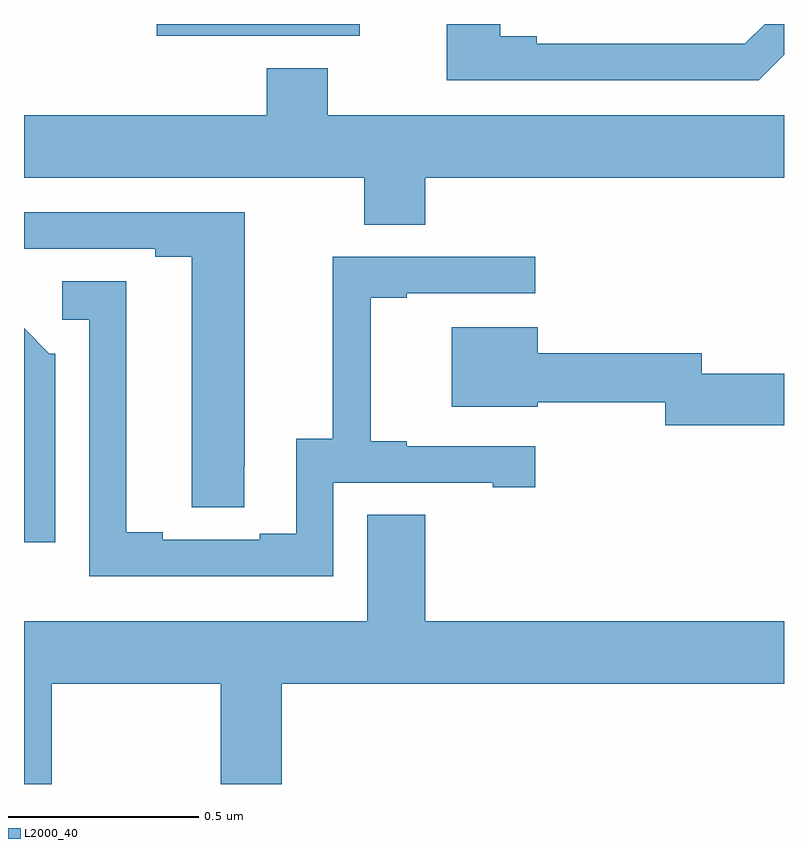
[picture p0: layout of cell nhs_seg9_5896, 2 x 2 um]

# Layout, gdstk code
import gdstk
lib = gdstk.Library(unit=1e-6, precision=1e-09)
def R(c, l, rs):  # rectangles x0, y0, x1, y1
    for r in rs: c.add(gdstk.rectangle(r[:2], r[2:], *l))
def P(c, l, *ps):  # polygons
    for p in ps: c.add(gdstk.Polygon(p, *l))
L2000_40 = (2000, 40)

nhs_seg9_5896 = lib.new_cell('nhs_seg9_5896')
R(nhs_seg9_5896, L2000_40, [(185.349,1187.469,185.883,1187.5)])
P(nhs_seg9_5896, L2000_40, [(187,1187.419),(187,1187.5),(186.949,1187.5),(186.897,1187.448),(186.349,1187.448),(186.349,1187.468),(186.253,1187.468),(186.253,1187.5),(186.113,1187.5),(186.113,1187.352),(186.933,1187.352)],
  [(186.056,1187.096),(187,1187.096),(187,1187.26),(185.799,1187.26),(185.799,1187.384),(185.639,1187.384),(185.639,1187.26),(185,1187.26),(185,1187.096),(185.896,1187.096),(185.896,1186.972),(186.056,1186.972)],
  [(185.58,1186.336),(185.581,1186.336),(185.581,1187.004),(185,1187.004),(185,1186.908),(185.345,1186.908),(185.345,1186.888),(185.441,1186.888),(185.441,1186.228),(185.58,1186.228)],
  [(185.814,1186.293),(186.233,1186.293),(186.233,1186.281),(186.346,1186.281),(186.346,1186.389),(186.007,1186.389),(186.007,1186.402),(185.912,1186.402),(185.912,1186.779),(186.007,1186.779),(186.007,1186.791),(186.346,1186.791),(186.346,1186.887),(185.812,1186.887),(185.812,1186.409),(185.717,1186.409),(185.717,1186.158),(185.621,1186.158),(185.621,1186.143),(185.365,1186.143),(185.365,1186.163),(185.269,1186.163),(185.269,1186.823),(185.1,1186.823),(185.1,1186.722),(185.172,1186.722),(185.172,1186.047),(185.814,1186.047)],
  [(187,1186.58),(186.783,1186.58),(186.783,1186.633),(186.352,1186.633),(186.352,1186.702),(186.125,1186.702),(186.125,1186.493),(186.352,1186.493),(186.352,1186.504),(186.687,1186.504),(186.687,1186.444),(187,1186.444)],
  [(185.082,1186.632),(185.067,1186.632),(185,1186.699),(185,1186.136),(185.082,1186.136)],
  [(185.073,1185.764),(185.518,1185.764),(185.518,1185.5),(185.678,1185.5),(185.678,1185.764),(187,1185.764),(187,1185.928),(186.056,1185.928),(186.056,1186.208),(185.903,1186.208),(185.903,1185.928),(185,1185.928),(185,1185.5),(185.073,1185.5)])

lib.write_gds('nhs_seg9_5896.gds')
